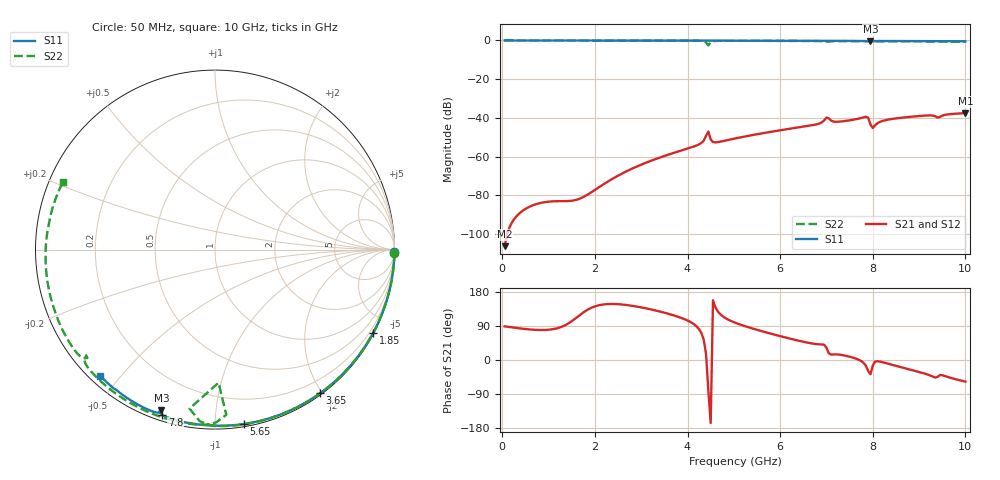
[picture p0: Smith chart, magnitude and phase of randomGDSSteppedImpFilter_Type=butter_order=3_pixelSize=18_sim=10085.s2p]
! freq	dB(S11)	phase(S11)	dB(S12)	phase(S12)
!  dB(S21)	phase(S21)	dB(S22)	phase(S22)
!S-par simulation data
#  GHz  S  DB  R 50
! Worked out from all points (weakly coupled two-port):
!   200 points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, 50 MHz to 10 GHz, reference 50 ohm
!   highest |S21| = -37.54 dB at 10 GHz (marker M1); lowest = -106.2 dB at 50 MHz (marker M2)
!   lowest |S11| = -0.5 dB at 7.95 GHz (marker M3), VSWR 34.63, Z = 2.19 - j36 ohm
!   |S11| at or under -10 dB: nowhere
!   |S22| runs from -2.6 to 0.0 dB; largest |S21 - S12| = 0
!   S11 on the Smith chart (normalised r, x): 50 MHz: open; 1.85 GHz: 0.04, -4.03; 3.65 GHz: 0.02, -1.97; 5.65 GHz: 0.02, -1.18; 7.8 GHz: 0.03, -0.73; 10 GHz: 0.03, -0.44
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0.05  -0.00 -0.8  -106.25 88.8  -106.25 88.8  -0.00 -1.1
1.75  -0.03 -26.4  -80.87 125.4  -80.87 125.4  -0.05 -37.9
1.85  -0.04 -27.9  -79.51 133.2  -79.51 133.2  -0.05 -40.0
2.6  -0.05 -38.8  -68.56 146.3  -68.56 146.3  -0.07 -55.7
3.4  -0.07 -50.3  -60.49 128.0  -60.49 128.0  -0.10 -72.0
3.65  -0.07 -53.8  -58.47 119.7  -58.47 119.7  -0.11 -77.1
4.3  -0.09 -62.7  -52.92 70.9  -52.92 70.9  -0.23 -92.6
4.4  -0.09 -64.1  -49.24 16.0  -49.24 16.0  -0.94 -99.1
4.45  -0.09 -64.7  -47.05 -81.1  -47.05 -81.1  -2.59 -88.5
4.5  -0.10 -65.4  -51.11 -166.3  -51.11 -166.3  -0.70 -86.1
4.55  -0.10 -66.1  -52.48 157.7  -52.48 157.7  -0.33 -89.6
5.05  -0.11 -72.8  -50.50 97.4  -50.50 97.4  -0.17 -102.6
5.65  -0.13 -80.6  -47.80 74.5  -47.80 74.5  -0.20 -114.3
6.7  -0.18 -93.8  -43.75 43.3  -43.75 43.3  -0.27 -134.5
7  -0.20 -97.5  -39.83 32.4  -39.83 32.4  -0.65 -140.6
7.2  -0.21 -100.0  -41.99 14.8  -41.99 14.8  -0.35 -142.8
7.8  -0.29 -107.7  -39.71 -7.3  -39.71 -7.3  -0.37 -155.0
7.9  -0.45 -108.9  -39.85 -28.8  -39.85 -28.8  -0.38 -157.0
7.95  -0.50 -108.4  -43.39 -37.6  -43.39 -37.6  -0.39 -158.0
8  -0.40 -108.6  -45.24 -14.8  -45.24 -14.8  -0.39 -159.0
8.35  -0.30 -113.2  -40.81 -10.4  -40.81 -10.4  -0.43 -166.1
10  -0.44 -132.3  -37.54 -57.1  -37.54 -57.1  -0.65 156.2
